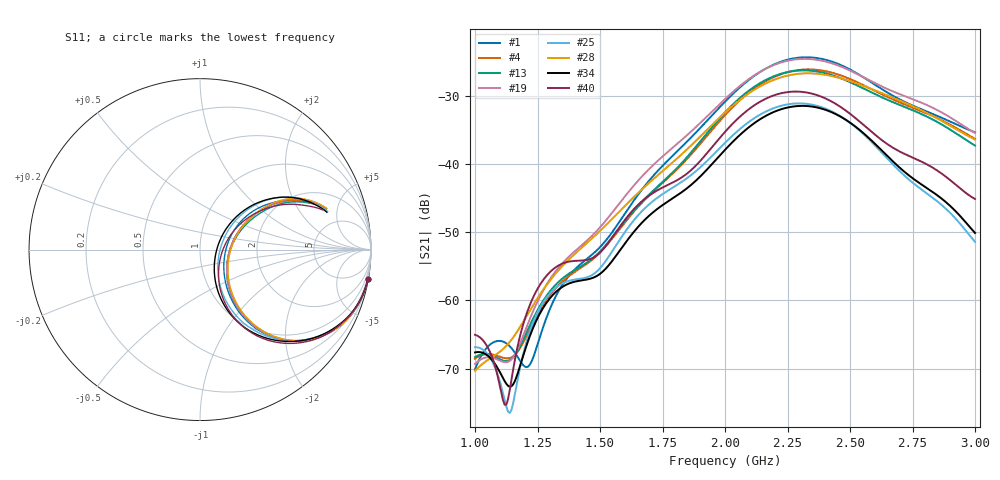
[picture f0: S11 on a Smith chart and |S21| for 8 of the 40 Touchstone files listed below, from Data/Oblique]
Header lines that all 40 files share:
! TOUCHSTONE file generated by CST MICROWAVE STUDIO
! Project name: oblique.cst
! Header version: 2024
! Port assignment regex: !\s*Touchstone port\s*([0-9]+)\s*=\s*(CST MWS port|CST DES external port|CST DES block port)\s*(.+)\s* \(\"(.*)\"\)(\s*mode\s*([0-9]+))?.*
! Touchstone port assignment:
! Touchstone port 1 = CST MWS port 1 ("")
! Touchstone port 2 = CST MWS port 2 ("")
# GHz S DB R 50
Fixed: Tilt = 30, Fracture = 1, B = 10, D = 160, Feed = 2.85625, L = 100, R = 0.384908, length = 57.125, wave = 114.25
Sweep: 1 GHz to 3 GHz
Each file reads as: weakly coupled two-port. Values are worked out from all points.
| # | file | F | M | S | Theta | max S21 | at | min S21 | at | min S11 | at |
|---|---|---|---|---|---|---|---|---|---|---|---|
| 1 | oblique_1.s2p | 5 | 10 | 1 | 90 | -24.32 dB | 2.325 GHz | -70.1 dB | 1 GHz | -16.6 dB | 2.364 GHz |
| 2 | oblique_2.s2p | 5 | 10 | 1 | 180 | -24.32 dB | 2.327 GHz | -70.0 dB | 1 GHz | -16.6 dB | 2.366 GHz |
| 3 | oblique_3.s2p | 5 | 10 | 1 | 270 | -24.32 dB | 2.325 GHz | -70.1 dB | 1 GHz | -16.6 dB | 2.364 GHz |
| 4 | oblique_4.s2p | 5 | 30 | 1 | 90 | -26.10 dB | 2.333 GHz | -68.5 dB | 1 GHz | -15.5 dB | 2.366 GHz |
| 5 | oblique_5.s2p | 5 | 30 | 1 | 180 | -26.10 dB | 2.333 GHz | -68.5 dB | 1 GHz | -15.5 dB | 2.366 GHz |
| 6 | oblique_6.s2p | 5 | 30 | 1 | 270 | -26.10 dB | 2.333 GHz | -68.5 dB | 1 GHz | -15.5 dB | 2.366 GHz |
| 7 | oblique_7.s2p | 5 | 50 | 1 | 90 | -29.35 dB | 2.309 GHz | -70.4 dB | 1.132 GHz | -16.2 dB | 2.349 GHz |
| 8 | oblique_8.s2p | 5 | 50 | 1 | 180 | -29.35 dB | 2.309 GHz | -70.4 dB | 1.132 GHz | -16.2 dB | 2.349 GHz |
| 9 | oblique_9.s2p | 5 | 50 | 1 | 270 | -29.35 dB | 2.309 GHz | -70.4 dB | 1.132 GHz | -16.2 dB | 2.349 GHz |
| 10 | oblique_10.s2p | 5 | 10 | 2 | 90 | -25.26 dB | 2.336 GHz | -71.0 dB | 1 GHz | -16.2 dB | 2.375 GHz |
| 11 | oblique_11.s2p | 5 | 10 | 2 | 180 | -25.26 dB | 2.336 GHz | -71.0 dB | 1 GHz | -16.2 dB | 2.375 GHz |
| 12 | oblique_12.s2p | 5 | 10 | 2 | 270 | -25.26 dB | 2.336 GHz | -71.0 dB | 1 GHz | -16.2 dB | 2.375 GHz |
| 13 | oblique_13.s2p | 5 | 30 | 2 | 90 | -26.25 dB | 2.316 GHz | -68.9 dB | 1.125 GHz | -15.3 dB | 2.362 GHz |
| 14 | oblique_14.s2p | 5 | 30 | 2 | 180 | -26.25 dB | 2.316 GHz | -68.9 dB | 1.125 GHz | -15.3 dB | 2.362 GHz |
| 15 | oblique_15.s2p | 5 | 30 | 2 | 270 | -26.25 dB | 2.316 GHz | -68.9 dB | 1.125 GHz | -15.3 dB | 2.362 GHz |
| 16 | oblique_16.s2p | 5 | 50 | 2 | 90 | -28.96 dB | 2.309 GHz | -71.7 dB | 1.138 GHz | -17.4 dB | 2.355 GHz |
| 17 | oblique_17.s2p | 5 | 50 | 2 | 180 | -28.96 dB | 2.309 GHz | -71.7 dB | 1.138 GHz | -17.4 dB | 2.355 GHz |
| 18 | oblique_18.s2p | 5 | 50 | 2 | 270 | -28.96 dB | 2.309 GHz | -71.7 dB | 1.138 GHz | -17.4 dB | 2.355 GHz |
| 19 | oblique_19.s2p | 15 | 10 | 1 | 90 | -24.55 dB | 2.318 GHz | -69.3 dB | 1 GHz | -15.5 dB | 2.364 GHz |
| 20 | oblique_20.s2p | 15 | 10 | 1 | 180 | -24.55 dB | 2.32 GHz | -69.5 dB | 1 GHz | -15.5 dB | 2.366 GHz |
| 21 | oblique_21.s2p | 15 | 10 | 1 | 270 | -24.55 dB | 2.318 GHz | -69.3 dB | 1 GHz | -15.5 dB | 2.364 GHz |
| 22 | oblique_22.s2p | 15 | 30 | 1 | 90 | -25.97 dB | 2.294 GHz | -84.8 dB | 1.125 GHz | -16.8 dB | 2.347 GHz |
| 23 | oblique_23.s2p | 15 | 30 | 1 | 180 | -25.97 dB | 2.294 GHz | -84.8 dB | 1.125 GHz | -16.8 dB | 2.347 GHz |
| 24 | oblique_24.s2p | 15 | 30 | 1 | 270 | -25.97 dB | 2.294 GHz | -84.8 dB | 1.125 GHz | -16.8 dB | 2.347 GHz |
| 25 | oblique_25.s2p | 15 | 50 | 1 | 90 | -31.09 dB | 2.298 GHz | -76.5 dB | 1.139 GHz | -18.8 dB | 2.364 GHz |
| 26 | oblique_26.s2p | 15 | 50 | 1 | 180 | -31.07 dB | 2.294 GHz | -75.8 dB | 1.139 GHz | -18.8 dB | 2.36 GHz |
| 27 | oblique_27.s2p | 15 | 50 | 1 | 270 | -31.09 dB | 2.298 GHz | -76.5 dB | 1.139 GHz | -18.8 dB | 2.364 GHz |
| 28 | oblique_28.s2p | 15 | 10 | 2 | 90 | -26.68 dB | 2.336 GHz | -70.4 dB | 1 GHz | -15.2 dB | 2.368 GHz |
| 29 | oblique_29.s2p | 15 | 10 | 2 | 180 | -26.67 dB | 2.336 GHz | -70.3 dB | 1 GHz | -15.2 dB | 2.368 GHz |
| 30 | oblique_30.s2p | 15 | 10 | 2 | 270 | -26.68 dB | 2.336 GHz | -70.4 dB | 1 GHz | -15.2 dB | 2.368 GHz |
| 31 | oblique_31.s2p | 15 | 30 | 2 | 90 | -27.76 dB | 2.281 GHz | -76.8 dB | 1.119 GHz | -16.6 dB | 2.333 GHz |
| 32 | oblique_32.s2p | 15 | 30 | 2 | 180 | -27.76 dB | 2.281 GHz | -76.8 dB | 1.119 GHz | -16.6 dB | 2.333 GHz |
| 33 | oblique_33.s2p | 15 | 30 | 2 | 270 | -27.76 dB | 2.281 GHz | -76.8 dB | 1.119 GHz | -16.6 dB | 2.333 GHz |
| 34 | oblique_34.s2p | 15 | 50 | 2 | 90 | -31.46 dB | 2.307 GHz | -72.7 dB | 1.139 GHz | -20.4 dB | 2.366 GHz |
| 35 | oblique_35.s2p | 15 | 50 | 2 | 180 | -31.46 dB | 2.307 GHz | -72.7 dB | 1.139 GHz | -20.4 dB | 2.366 GHz |
| 36 | oblique_36.s2p | 15 | 50 | 2 | 270 | -31.46 dB | 2.307 GHz | -72.7 dB | 1.139 GHz | -20.4 dB | 2.366 GHz |
| 37 | oblique_37.s2p | 25 | 10 | 1 | 90 | -27.09 dB | 2.291 GHz | -69.6 dB | 1.079 GHz | -14.9 dB | 2.358 GHz |
| 38 | oblique_38.s2p | 25 | 10 | 1 | 180 | -27.09 dB | 2.291 GHz | -69.6 dB | 1.079 GHz | -14.9 dB | 2.358 GHz |
| 39 | oblique_39.s2p | 25 | 10 | 1 | 270 | -27.08 dB | 2.289 GHz | -68.8 dB | 1.053 GHz | -14.9 dB | 2.355 GHz |
| 40 | oblique_40.s2p | 25 | 30 | 1 | 90 | -29.36 dB | 2.281 GHz | -75.3 dB | 1.119 GHz | -17.9 dB | 2.347 GHz |
